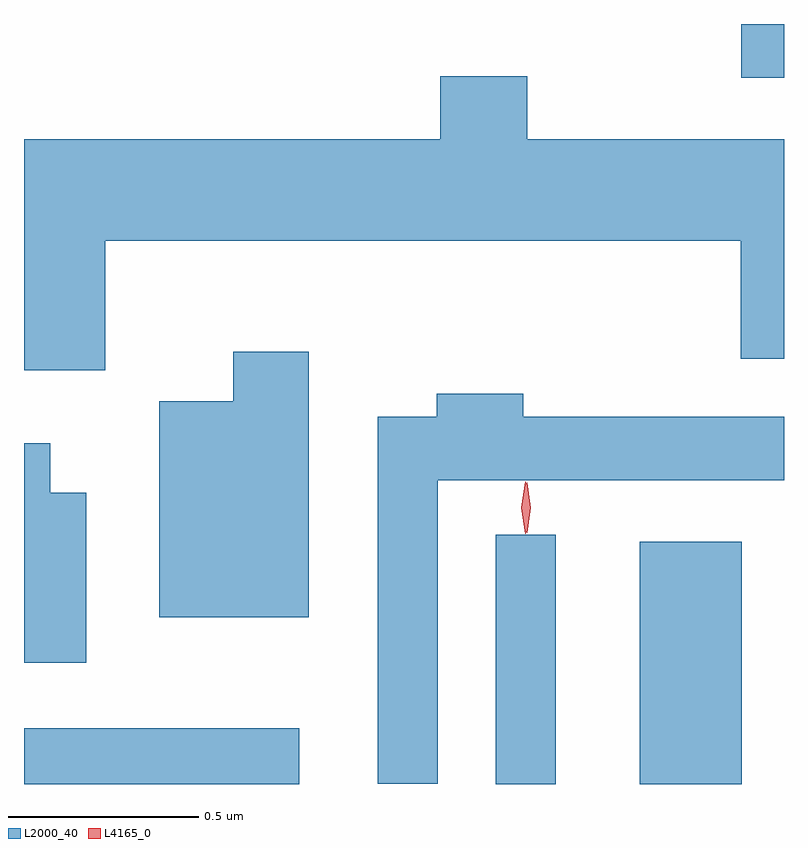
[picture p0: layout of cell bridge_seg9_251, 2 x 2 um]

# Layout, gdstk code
import gdstk
lib = gdstk.Library(unit=1e-6, precision=1e-09)
def R(c, l, rs):  # rectangles x0, y0, x1, y1
    for r in rs: c.add(gdstk.rectangle(r[:2], r[2:], *l))
def P(c, l, *ps):  # polygons
    for p in ps: c.add(gdstk.Polygon(p, *l))
L2000_40 = (2000, 40)
L4165_0 = (4165, 0)

bridge_seg9_251 = lib.new_cell('bridge_seg9_251')
R(bridge_seg9_251, L2000_40, [(1475.705,1945.987,1476.429,1946.134), (1476.946,1945.987,1477.104,1946.643), (1477.326,1945.987,1477.594,1946.624), (1477.593,1947.846,1477.705,1947.987)])
P(bridge_seg9_251, L2000_40, [(1475.919,1947.416),(1477.591,1947.416),(1477.591,1947.106),(1477.705,1947.106),(1477.705,1947.684),(1477.029,1947.684),(1477.029,1947.849),(1476.801,1947.849),(1476.801,1947.684),(1475.705,1947.684),(1475.705,1947.076),(1475.919,1947.076)],
  [(1476.454,1947.124),(1476.256,1947.124),(1476.256,1946.994),(1476.061,1946.994),(1476.061,1946.426),(1476.454,1946.426)],
  [(1476.794,1946.786),(1477.705,1946.786),(1477.705,1946.954),(1477.019,1946.954),(1477.019,1947.014),(1476.791,1947.014),(1476.791,1946.954),(1476.636,1946.954),(1476.636,1945.988),(1476.794,1945.988)],
  [(1475.869,1946.754),(1475.774,1946.754),(1475.774,1946.884),(1475.705,1946.884),(1475.705,1946.306),(1475.869,1946.306)])
P(bridge_seg9_251, L4165_0, [(1477.024,1946.645),(1477.024,1946.645),(1477.014,1946.714),(1477.024,1946.782),(1477.024,1946.783),(1477.025,1946.782),(1477.034,1946.714),(1477.025,1946.645)],
  [(1477.028,1946.648),(1477.019,1946.714),(1477.028,1946.78),(1477.029,1946.78),(1477.029,1946.78),(1477.039,1946.714),(1477.029,1946.648),(1477.029,1946.648)])

lib.write_gds('bridge_seg9_251.gds')
